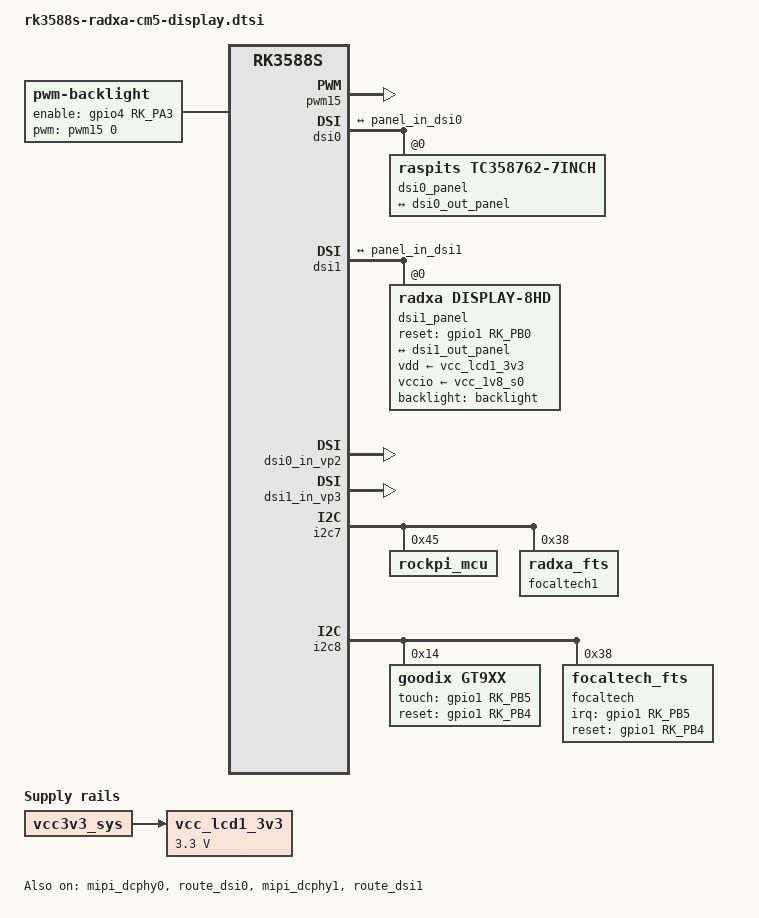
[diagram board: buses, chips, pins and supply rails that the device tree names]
// SPDX-License-Identifier: (GPL-2.0+ OR MIT)
/*
 * Copyright (c) 2022 Radxa Limited.
 *
 */

/ {
	compatible = "radxa,rock-cm5", "rockchip,rk3588s";

	vcc_lcd1_3v3: vcc-lcd-3v3 {
		status = "okay";
		compatible = "regulator-fixed";
		regulator-name = "vcc_lcd1_3v3";
		regulator-always-on;
		regulator-boot-on;
		regulator-min-microvolt = <3300000>;
		regulator-max-microvolt = <3300000>;
		vin-supply = <&vcc3v3_sys>;
	};

	backlight: backlight {
		status = "okay";
		compatible = "pwm-backlight";
		pwms = <&pwm15 0 25000 0>;
		brightness-levels = <
			  0  20  20  21  21  22  22  23
			 23  24  24  25  25  26  26  27
			 27  28  28  29  29  30  30  31
			 31  32  32  33  33  34  34  35
			 35  36  36  37  37  38  38  39
			 40  41  42  43  44  45  46  47
			 48  49  50  51  52  53  54  55
			 56  57  58  59  60  61  62  63
			 64  65  66  67  68  69  70  71
			 72  73  74  75  76  77  78  79
			 80  81  82  83  84  85  86  87
			 88  89  90  91  92  93  94  95
			 96  97  98  99 100 101 102 103
			104 105 106 107 108 109 110 111
			112 113 114 115 116 117 118 119
			120 121 122 123 124 125 126 127
			128 129 130 131 132 133 134 135
			136 137 138 139 140 141 142 143
			144 145 146 147 148 149 150 151
			152 153 154 155 156 157 158 159
			160 161 162 163 164 165 166 167
			168 169 170 171 172 173 174 175
			176 177 178 179 180 181 182 183
			184 185 186 187 188 189 190 191
			192 193 194 195 196 197 198 199
			200 201 202 203 204 205 206 207
			208 209 210 211 212 213 214 215
			216 217 218 219 220 221 222 223
			224 225 226 227 228 229 230 231
			232 233 234 235 236 237 238 239
			240 241 242 243 244 245 246 247
			248 249 250 251 252 253 254 255
		>;
		default-brightness-level = <200>;
		enable-gpios = <&gpio4 RK_PA3 GPIO_ACTIVE_HIGH>;
		pinctrl-names = "default";
		pinctrl-0 = <&backlight_en>;
	};
};

&pwm15 {
	status = "okay";
	pinctrl-names = "active";
	pinctrl-0 = <&pwm15m1_pins>;
};

&dsi0 {
	status = "okay";

	dsi0_panel: panel@0 {
		compatible = "raspits,tc358762-7inch";
		reg = <0x0>;
		status = "okay";

		ports {
			#address-cells = <1>;
			#size-cells = <0>;

			port@0 {
				reg = <0>;

				panel_in_dsi0: endpoint {
					remote-endpoint = <&dsi0_out_panel>;
				};
			};
		};
	};

	ports {
		#address-cells = <1>;
		#size-cells = <0>;

		port@1 {
			reg = <1>;
			#address-cells = <1>;
			#size-cells = <0>;

			dsi0_out_panel: endpoint@0 {
				reg = <0>;
				remote-endpoint = <&panel_in_dsi0>;
			};
		};
	};
};

&dsi1 {
	status = "okay";
	rockchip,lane-rate = <480>;

	dsi1_panel: panel@0 {
		status = "okay";
			compatible = "radxa,display-8hd";	// rockchip,lane-rate = <480>;
		// compatible ="radxa,display-10hd-a";	// rockchip,lane-rate = <480>;
		// compatible ="radxa,display-10hd-N40A";  // rockchip,lane-rate = <1000>;
		reg = <0>;
		backlight = <&backlight>;

		// power-supply = <&vcc_lcd_mipi0>; //raspberrypi driver usage
		vdd-supply = <&vcc_lcd1_3v3>;
		vccio-supply = <&vcc_1v8_s0>;
		reset-gpios = <&gpio1 RK_PB0 GPIO_ACTIVE_HIGH>;
		pinctrl-names = "default";
		pinctrl-0 = <&dsi1_lcd_rst_gpio>;

		ports {
			#address-cells = <1>;
			#size-cells = <0>;

			port@0 {
				reg = <0>;
				panel_in_dsi1: endpoint {
					remote-endpoint = <&dsi1_out_panel>;
				};
			};
		};
	};

	ports {
		#address-cells = <1>;
		#size-cells = <0>;

		port@1 {
			reg = <1>;
			dsi1_out_panel: endpoint {
				remote-endpoint = <&panel_in_dsi1>;
			};
		};
	};
};


&mipi_dcphy0 {
	status = "okay";
};

&dsi0_in_vp3 {
	status = "disabled";
};

&dsi0_in_vp2 {
	status = "okay";
};

&route_dsi0 {
	status = "okay";
	connect = <&vp2_out_dsi0>;
};

&mipi_dcphy1 {
	status = "okay";
};

&route_dsi1 {
	status = "okay";
	connect = <&vp3_out_dsi1>;
};

&dsi1_in_vp3 {
	status = "okay";
};

&dsi1_in_vp2 {
	status = "disabled";
};

&i2c7 {
	status = "okay";
	pinctrl-0 = <&i2c7m2_xfer>;
	#address-cells = <1>;
	#size-cells = <0>;

	// // dsi0 : compatible = "radxa,display-8hd" tp-size = <9112>; compatible ="radxa,display-10hd-N40A" tp-size = <9271>;
	// gt9xx_dsi0: gt9xx-dsi0@14 {
	// 	status = "okay";
	// 	compatible = "goodix,gt9xx";
	// 	reg = <0x14>;
	// 	pinctrl-names = "default";
	// 	pinctrl-0 = <&gt9xx_gpio>;
	// 	touch-gpio = <&gpio3 RK_PC6 IRQ_TYPE_LEVEL_LOW>;
	// 	reset-gpio = <&gpio3 RK_PC5 GPIO_ACTIVE_HIGH>;
	// 	max-x = <800>;
	// 	max-y = <1280>;
	// 	tp-size = <9112>;
	// 	// tp-supply = <&vcc_lcd_mipi0>;
	// };

	// //dsi0 : compatible ="radxa,display-10hd-a";
	// focaltech_dsi0: focaltech-radxa-dsi0@38 {
	// 	status = "okay";
	// 	compatible = "focaltech_fts";
	// 	reg = <0x38>;
	// 	pinctrl-names = "default";
	// 	pinctrl-0 = <&focaltech_gpio>;
	// 	focaltech,irq-gpio = <&gpio3 RK_PC6 IRQ_TYPE_LEVEL_LOW>;
	// 	focaltech,reset-gpio = <&gpio3 RK_PC5 GPIO_ACTIVE_HIGH>;
	// 	focaltech,display-coords = <0 0 799 1279>;
	// 	// tp-supply = <&vcc_lcd_mipi0>;
	// };
	rockpi_mcu: rockpi-mcu@45 {
		compatible = "rockpi_mcu";
		reg = <0x45>;
		status = "okay";
	};

    focaltech1: focaltech-raspberrypi@38 {
               status = "okay";
               compatible = "radxa_fts";
               reg = <0x38>;
               irq_mode = <0>; //0 poll ,1 irq
               x_reverse = <1>;
               y_reverse = <1>;
               xy_swap = <0>;
               focaltech,display-coords =  <0 0 800 480>;
               focaltech,max-touch-number = <5>;
     };
};

&i2c8 {
	status = "okay";
	pinctrl-0 = <&i2c7m2_xfer>;
	#address-cells = <1>;
	#size-cells = <0>;

	// dsi0 : compatible = "radxa,display-8hd" tp-size = <9112>; compatible ="radxa,display-10hd-N40A" tp-size = <9271>;
	gt9xx: gt9xx@14 {
		status = "okay";
		compatible = "goodix,gt9xx";
		reg = <0x14>;
		pinctrl-names = "default";
		pinctrl-0 = <&gt9xx_gpio>;
		touch-gpio = <&gpio1 RK_PB5 IRQ_TYPE_LEVEL_LOW>;
		reset-gpio = <&gpio1 RK_PB4 GPIO_ACTIVE_HIGH>;
		max-x = <800>;
		max-y = <1280>;
		tp-size = <9112>;
		// tp-supply = <&vcc_lcd_mipi0>;
	};

	//dsi0 : compatible ="radxa,display-10hd-a";
	focaltech: focaltech-radxa@38 {
		status = "okay";
		compatible = "focaltech_fts";
		reg = <0x38>;
		pinctrl-names = "default";
		pinctrl-0 = <&focaltech_gpio>;
		focaltech,irq-gpio = <&gpio1 RK_PB5 IRQ_TYPE_LEVEL_LOW>;
		focaltech,reset-gpio = <&gpio1 RK_PB4 GPIO_ACTIVE_HIGH>;
		focaltech,display-coords = <0 0 799 1279>;
		// tp-supply = <&vcc_lcd_mipi0>;
	};

};

&pinctrl {

	dsi1-lcd {
		dsi1_lcd_rst_gpio: dsi1-lcd-rst-gpio {
			rockchip,pins = <1 RK_PB0 RK_FUNC_GPIO &pcfg_pull_up>;
		};

		backlight_en: backlight-en {
			rockchip,pins = <4 RK_PA3 RK_FUNC_GPIO &pcfg_pull_up>;
		};
	};

	gt9xx {
		gt9xx_gpio: gt9xx-gpio {
			rockchip,pins =
				<1 RK_PB5 RK_FUNC_GPIO &pcfg_pull_none>,
				<1 RK_PB4 RK_FUNC_GPIO &pcfg_pull_up>;
		};
	};

	focaltech {
		focaltech_gpio: focaltech-gpio {
			rockchip,pins =
				<1 RK_PB5 RK_FUNC_GPIO &pcfg_pull_none>,
				<1 RK_PB4 RK_FUNC_GPIO &pcfg_pull_up>;
		};
	};
};
